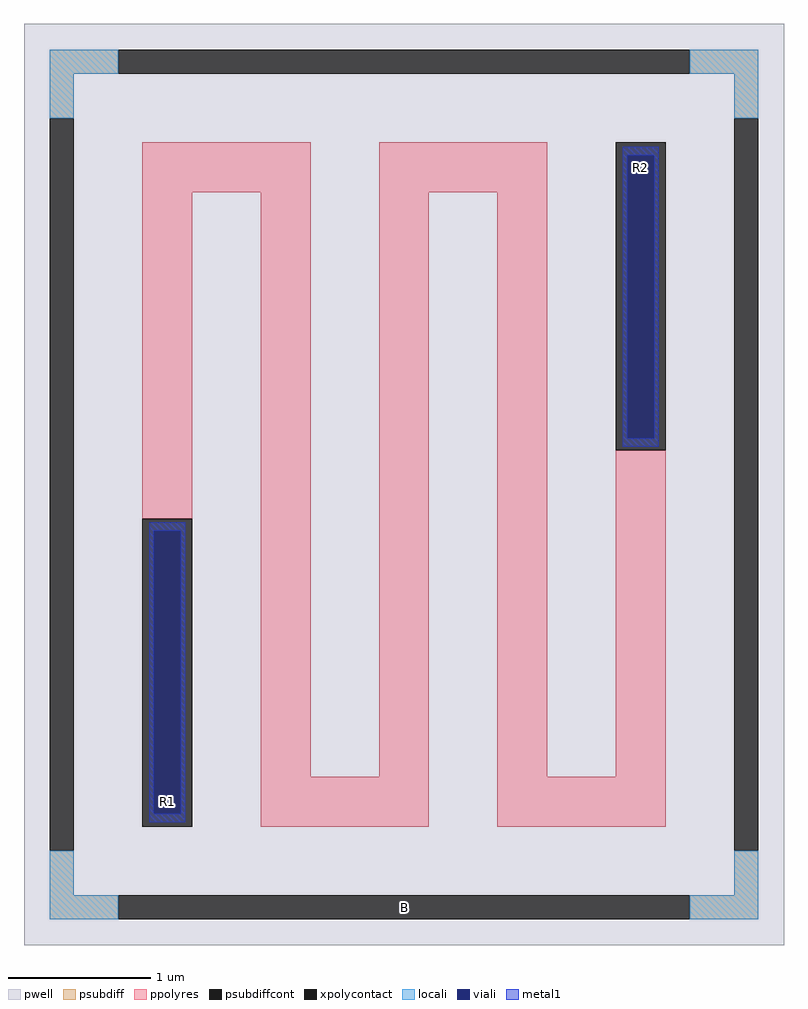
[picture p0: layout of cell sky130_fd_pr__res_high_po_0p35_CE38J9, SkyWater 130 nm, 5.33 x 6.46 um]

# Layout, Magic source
magic
tech sky130A
magscale 1 2
<< pwell >>
rect -533 -646 533 646
<< psubdiff >>
rect -497 576 -401 610
rect 401 576 497 610
rect -497 514 -463 576
rect 463 514 497 576
rect -497 -576 -463 -514
rect 463 -576 497 -514
rect -497 -610 -401 -576
rect 401 -610 497 -576
<< psubdiffcont >>
rect -401 576 401 610
rect -497 -514 -463 514
rect 463 -514 497 514
rect -401 -610 401 -576
<< xpolycontact >>
rect -367 -480 -297 -48
rect 297 48 367 480
<< ppolyres >>
rect -367 410 -131 480
rect -367 -48 -297 410
rect -201 -410 -131 410
rect -35 410 201 480
rect -35 -410 35 410
rect -201 -480 35 -410
rect 131 -410 201 410
rect 297 -410 367 48
rect 131 -480 367 -410
<< locali >>
rect -497 576 -401 610
rect 401 576 497 610
rect -497 514 -463 576
rect 463 514 497 576
rect -497 -576 -463 -514
rect 463 -576 497 -514
rect -497 -610 -401 -576
rect 401 -610 497 -576
<< viali >>
rect 313 65 351 462
rect -351 -462 -313 -65
<< metal1 >>
rect 307 462 357 474
rect 307 65 313 462
rect 351 65 357 462
rect 307 53 357 65
rect -357 -65 -307 -53
rect -357 -462 -351 -65
rect -313 -462 -307 -65
rect -357 -474 -307 -462
<< labels >>
rlabel psubdiffcont 0 -593 0 -593 0 B
port 4 nsew
rlabel xpolycontact -332 -445 -332 -445 0 R1
port 5 nsew
rlabel xpolycontact 332 445 332 445 0 R2
port 6 nsew
<< properties >>
string FIXED_BBOX -480 -593 480 593
string gencell sky130_fd_pr__res_high_po_0p35
string library sky130
string parameters w 0.35 l 4.8 m 1 nx 5 wmin 0.350 lmin 0.50 class resistor rho 319.8 val 24.321k dummy 0 dw 0.0 term 194.82 sterm 0.0 caplen 0 guard 1 glc 1 grc 1 gtc 1 gbc 1 compatible {sky130_fd_pr__res_high_po_0p35  sky130_fd_pr__res_high_po_0p69 sky130_fd_pr__res_high_po_1p41  sky130_fd_pr__res_high_po_2p85 sky130_fd_pr__res_high_po_5p73} snake 1 full_metal 1 wmax 0.350 vias 1 n_guard 0 hv_guard 0 viagb 0 viagt 0 viagl 0 viagr 0 doports 1
<< end >>
